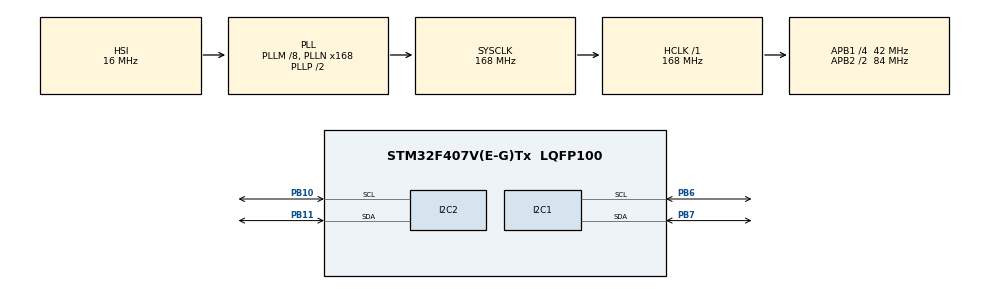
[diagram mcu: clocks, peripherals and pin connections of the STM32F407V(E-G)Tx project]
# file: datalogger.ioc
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Mcu.Family=STM32F4
PH0-OSC_IN.Signal=RCC_OSC_IN
RCC.CortexFreq_Value=168000000
PB10.Mode=I2C
RCC.APB1CLKDivider=RCC_HCLK_DIV4
PB11.Signal=I2C2_SDA
RCC.SYSCLKSource=RCC_SYSCLKSOURCE_PLLCLK
ProjectManager.StackSize=0x400
PB11.Mode=I2C
ProjectManager.TargetToolchain=STM32CubeIDE
I2C1.I2C_Mode=I2C_Fast
RCC.HCLKFreq_Value=168000000
RCC.APB2TimFreq_Value=168000000
PB6.Signal=I2C1_SCL
PB6.Mode=I2C
RCC.LSE_VALUE=32768
RCC.AHBFreq_Value=168000000
PH0-OSC_IN.Mode=HSE-External-Oscillator
PB10.Signal=I2C2_SCL
RCC.HSE_VALUE=25000000
board=custom
RCC.VCOOutputFreq_Value=336000000
RCC.APB2Freq_Value=84000000
PH1-OSC_OUT.Signal=RCC_OSC_OUT
PB7.Signal=I2C1_SDA
Mcu.Name=STM32F407V(E-G)Tx
PH1-OSC_OUT.Mode=HSE-External-Oscillator
RCC.48MHZClocksFreq_Value=84000000
RCC.SYSCLKFreq_VALUE=168000000
Mcu.Package=LQFP100
PB7.Mode=I2C
ProjectManager.HeapSize=0x200
RCC.HSI_VALUE=16000000
NVIC.PriorityGroup=NVIC_PRIORITYGROUP_4
RCC.APB2CLKDivider=RCC_HCLK_DIV2
RCC.PLLM=8
RCC.PLLN=168
RCC.APB1TimFreq_Value=84000000
RCC.APB1Freq_Value=42000000
I2C2.I2C_Mode=I2C_Fast

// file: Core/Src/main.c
/* USER CODE BEGIN Header */
/**
  ******************************************************************************
  * @file           : main.c
  * @brief          : Main program body
  ******************************************************************************
  * @attention
  *
  * <h2><center>&copy; Copyright (c) 2021 STMicroelectronics.
  * All rights reserved.</center></h2>
  *
  * This software component is licensed by ST under BSD 3-Clause license,
  * the "License"; You may not use this file except in compliance with the
  * License. You may obtain a copy of the License at:
  *                        opensource.org/licenses/BSD-3-Clause
  *
  ******************************************************************************
  */
/* USER CODE END Header */
#include "main.h"

/* USER CODE BEGIN Includes */
#include "i2c-lcd.h"
#include "ssd1306.h"
#include "fonts.h"
#include "string.h"
#include "stdio.h"
#include "ds3231.h"
/* USER CODE END Includes */

/* USER CODE BEGIN PTD */
char txt[50];
uint8_t check;
int vout = 95;
/* USER CODE END PTD */

I2C_HandleTypeDef hi2c1;
I2C_HandleTypeDef hi2c2;

void SystemClock_Config(void);
static void MX_GPIO_Init(void);
static void MX_I2C1_Init(void);
static void MX_I2C2_Init(void);

int main(void)
{
  /* USER CODE BEGIN 1 */
	     uint8_t ds3231Addr = (uint8_t) 0xD0;
		 uint32_t saniye, dakika, saat;
		 uint32_t gun, ay, yil;
  /* USER CODE END 1 */

  /* MCU Configuration--------------------------------------------------------*/

  /* Reset of all peripherals, Initializes the Flash interface and the Systick. */
  HAL_Init();

  /* Configure the system clock */
  SystemClock_Config();

  /* Initialize all configured peripherals */
  MX_GPIO_Init();
  MX_I2C1_Init();
  MX_I2C2_Init();
  /* USER CODE BEGIN 2 */
  	  	//LCD
        lcd_init ();
      	check = ssd1306_Init();
      	ssd1306_Fill(0);
      	ssd1306_UpdateScreen();
      	HAL_Delay(20);

      			//ds3231
      			setSeconds(10);
      	        setMinutes(21);
      	        setHour(12);
      	        setDate(30);
      	        setMonth(7);
      	        setYear(19);

      	        DS3231_sendData(hi2c2, ds3231Addr);
      	        while (HAL_I2C_GetState( & hi2c2) != HAL_I2C_STATE_READY){}
      	        DS3231_setDate(hi2c2, ds3231Addr);

      	        HAL_Delay(1000);

  /* USER CODE END 2 */

  /* Infinite loop */
  while (1)
  {

    /* USER CODE BEGIN 3 */

	  	  	  	  DS3231_sendData(hi2c2, ds3231Addr);
	  	  while (HAL_I2C_GetState( & hi2c2) != HAL_I2C_STATE_READY) {}
	  	  //Read
	  	  I2C_ReadCalendarData(hi2c2, ds3231Addr);
	  	         /*
	  	   atoi komutu içerdigi string ifadeyi integera çevirir.
	  	     */
	  	  saniye = atoi(readSeconds());
	  	  dakika = atoi(readMinutes());
	  	  saat = atoi(readHours());

	  	  gun = atoi(readDate());
	  	  ay  = atoi(readMonth());
	  	  yil = atoi(readYear());

	  	  	  ssd1306_Fill(Black);
	  	  	  ssd1306_SetCursor(0,15);
	  	  	  sprintf(txt,"%d:%d:%d",saat,dakika,saniye);
	  	  	  ssd1306_WriteString(txt,Font_11x18,White);
	  	  	  ssd1306_UpdateScreen();
	  	  	  HAL_Delay(1000);
  }
  /* USER CODE END 3 */
}

void SystemClock_Config(void)
{
  RCC_OscInitTypeDef RCC_OscInitStruct = {0};
  RCC_ClkInitTypeDef RCC_ClkInitStruct = {0};

  /** Configure the main internal regulator output voltage
  */
  __HAL_RCC_PWR_CLK_ENABLE();
  __HAL_PWR_VOLTAGESCALING_CONFIG(PWR_REGULATOR_VOLTAGE_SCALE1);
  /** Initializes the RCC Oscillators according to the specified parameters
  * in the RCC_OscInitTypeDef structure.
  */
  RCC_OscInitStruct.OscillatorType = RCC_OSCILLATORTYPE_HSI;
  RCC_OscInitStruct.HSIState = RCC_HSI_ON;
  RCC_OscInitStruct.HSICalibrationValue = RCC_HSICALIBRATION_DEFAULT;
  RCC_OscInitStruct.PLL.PLLState = RCC_PLL_ON;
  RCC_OscInitStruct.PLL.PLLSource = RCC_PLLSOURCE_HSI;
  RCC_OscInitStruct.PLL.PLLM = 8;
  RCC_OscInitStruct.PLL.PLLN = 168;
  RCC_OscInitStruct.PLL.PLLP = RCC_PLLP_DIV2;
  RCC_OscInitStruct.PLL.PLLQ = 4;
  if (HAL_RCC_OscConfig(&RCC_OscInitStruct) != HAL_OK)
  {
    Error_Handler();
  }
  /** Initializes the CPU, AHB and APB buses clocks
  */
  RCC_ClkInitStruct.ClockType = RCC_CLOCKTYPE_HCLK|RCC_CLOCKTYPE_SYSCLK
                              |RCC_CLOCKTYPE_PCLK1|RCC_CLOCKTYPE_PCLK2;
  RCC_ClkInitStruct.SYSCLKSource = RCC_SYSCLKSOURCE_PLLCLK;
  RCC_ClkInitStruct.AHBCLKDivider = RCC_SYSCLK_DIV1;
  RCC_ClkInitStruct.APB1CLKDivider = RCC_HCLK_DIV4;
  RCC_ClkInitStruct.APB2CLKDivider = RCC_HCLK_DIV2;

  if (HAL_RCC_ClockConfig(&RCC_ClkInitStruct, FLASH_LATENCY_5) != HAL_OK)
  {
    Error_Handler();
  }
}

static void MX_I2C1_Init(void)
{

  hi2c1.Instance = I2C1;
  hi2c1.Init.ClockSpeed = 400000;
  hi2c1.Init.DutyCycle = I2C_DUTYCYCLE_2;
  hi2c1.Init.OwnAddress1 = 0;
  hi2c1.Init.AddressingMode = I2C_ADDRESSINGMODE_7BIT;
  hi2c1.Init.DualAddressMode = I2C_DUALADDRESS_DISABLE;
  hi2c1.Init.OwnAddress2 = 0;
  hi2c1.Init.GeneralCallMode = I2C_GENERALCALL_DISABLE;
  hi2c1.Init.NoStretchMode = I2C_NOSTRETCH_DISABLE;
  if (HAL_I2C_Init(&hi2c1) != HAL_OK)
  {
    Error_Handler();
  }

}

static void MX_I2C2_Init(void)
{

  hi2c2.Instance = I2C2;
  hi2c2.Init.ClockSpeed = 400000;
  hi2c2.Init.DutyCycle = I2C_DUTYCYCLE_2;
  hi2c2.Init.OwnAddress1 = 0;
  hi2c2.Init.AddressingMode = I2C_ADDRESSINGMODE_7BIT;
  hi2c2.Init.DualAddressMode = I2C_DUALADDRESS_DISABLE;
  hi2c2.Init.OwnAddress2 = 0;
  hi2c2.Init.GeneralCallMode = I2C_GENERALCALL_DISABLE;
  hi2c2.Init.NoStretchMode = I2C_NOSTRETCH_DISABLE;
  if (HAL_I2C_Init(&hi2c2) != HAL_OK)
  {
    Error_Handler();
  }

}

static void MX_GPIO_Init(void)
{

  /* GPIO Ports Clock Enable */
  __HAL_RCC_GPIOH_CLK_ENABLE();
  __HAL_RCC_GPIOB_CLK_ENABLE();

}

void Error_Handler(void)
{
  __disable_irq();
  while (1)
  {
  }
}

/************************ (C) COPYRIGHT STMicroelectronics *****END OF FILE****/
